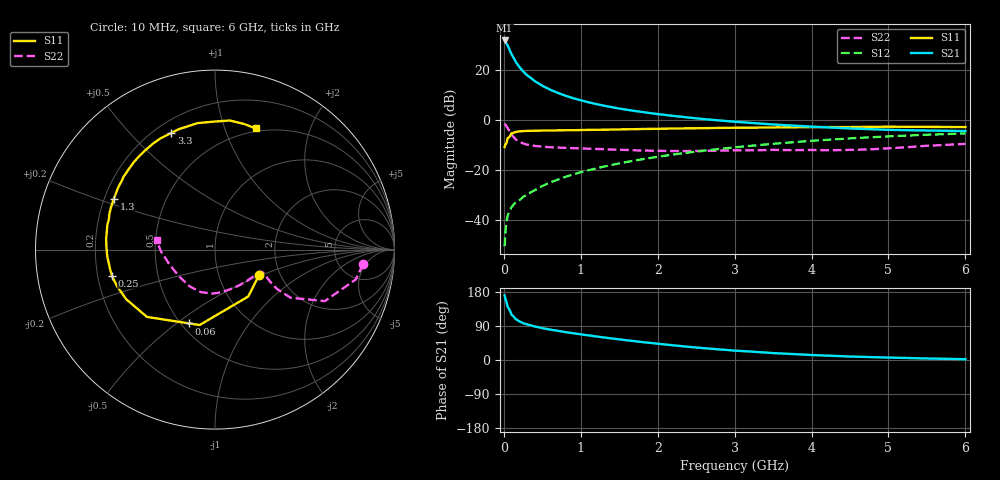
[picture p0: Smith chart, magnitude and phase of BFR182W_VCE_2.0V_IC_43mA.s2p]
! Infineon Technologies  Discrete & RF Semiconductors
! BFR182W
! VCE =  2.0 V,  IC =  43 mA
! Common Emitter S-Parameters:  Jan 2017
# GHz  S  MA  R  50
!  f  S11  S21  S12  S22
! GHz  MAG  ANG  MAG  ANG  MAG  ANG  MAG  ANG
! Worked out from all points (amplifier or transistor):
!   77 points, 10 MHz to 6 GHz, reference 50 ohm
!   highest |S21| = 31.6 dB at 10 MHz (marker M1)
!   |S21| within 3 dB of that: start of sweep to 64.14 MHz
!   unconditionally stable (mu >= 1): start of sweep to 13.97 MHz; 230.8 MHz to 3.328 GHz; 4.391 GHz to end of sweep
!   at 130 MHz: K = 0.75, MSG = 29.1 dB, |S12| = -33.8 dB
!   at 2.2 GHz: K = 1.09, MAG = 5.8 dB, |S12| = -13.9 dB
!   at 6 GHz: K = 1.04, MAG = -0.8 dB, |S12| = -5.5 dB
!   S11 on the Smith chart (normalised r, x): 10 MHz: 1.56, -0.48; 60 MHz: 0.55, -0.56; 250 MHz: 0.26, -0.12; 1.3 GHz: 0.24, +0.22; 3.3 GHz: 0.26, +0.66; 6 GHz: 0.47, +1.28
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0.01  0.2837 -29.9  37.95 170.6  0.003 68.1  0.8283 -5.7
0.02  0.3203 -54.7  37.02 161.9  0.0056 75.4  0.8015 -12.0
0.05  0.4289 -101.5  29.93 140.0  0.0123 62.7  0.6759 -25.1
0.06  0.4358 -109.3  27.75 137.1  0.0134 60.8  0.6401 -26.3
0.1  0.5332 -135.3  20.15 119.5  0.018 55.5  0.5004 -32.5
0.15  0.5668 -150.8  14.6 108.8  0.022 54.5  0.4093 -32.4
0.2  0.5831 -159.7  11.31 102.2  0.0246 57.6  0.3628 -30.6
0.25  0.5925 -165.8  9.211 97.3  0.0287 59.6  0.3362 -28.8
0.3  0.5953 -170.4  7.734 94.0  0.032 62.0  0.3183 -27.5
0.4  0.6018 -176.9  5.886 88.4  0.0391 65.8  0.2998 -25.8
0.5  0.6056 178.1  4.737 84.1  0.0474 68.3  0.2895 -25.5
0.6  0.6097 174.1  3.975 80.3  0.0558 69.9  0.2821 -25.8
0.7  0.6109 170.7  3.42 77.0  0.0635 71.6  0.2775 -26.6
0.9  0.6149 164.2  2.68 70.6  0.0806 72.4  0.27 -29.5
1.1  0.6247 158.6  2.221 65.0  0.0982 72.8  0.2636 -33.3
1.3  0.6306 153.3  1.899 59.5  0.1159 72.3  0.2579 -37.5
2.1  0.6609 134.6  1.239 40.9  0.1915 67.8  0.2378 -61.6
3.1  0.6905 114.4  0.887 23.6  0.2902 58.3  0.2444 -96.1
3.3  0.694 110.5  0.843 21.0  0.3098 56.1  0.2457 -102.3
4.1  0.7107 96.4  0.713 12.4  0.3869 46.9  0.2468 -128.7
5.1  0.7222 82.1  0.622 5.9  0.4711 34.8  0.2737 -166.6
6  0.712 71.5  0.592 2.1  0.5321 24.1  0.3291 171.0
